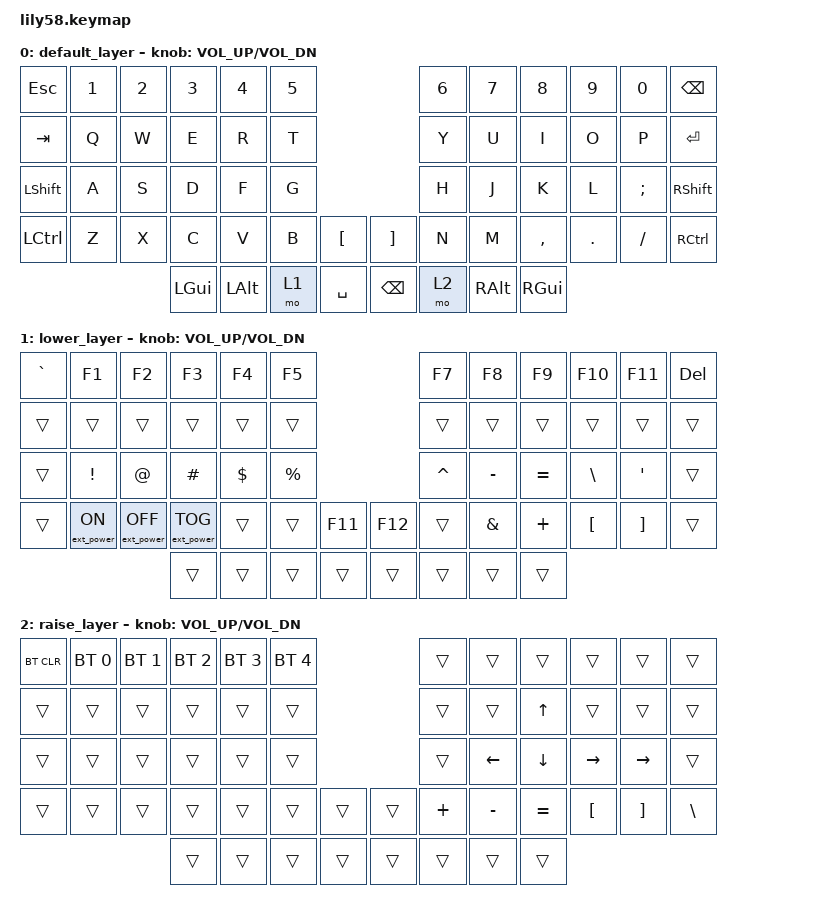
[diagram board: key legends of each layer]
/*
 * Copyright (c) 2020 The ZMK Contributors
 *
 * SPDX-License-Identifier: MIT
 */

#include <behaviors.dtsi>
#include <dt-bindings/zmk/keys.h>
#include <dt-bindings/zmk/bt.h>
#include <dt-bindings/zmk/ext_power.h>

/ {
    keymap {
        compatible = "zmk,keymap";

        default_layer {
// ------------------------------------------------------------------------------------------------------------
// |  ESC  |  1  |  2  |  3   |  4   |  5   |                   |  6   |  7    |  8    |  9   |   0   |   `   |
// |  TAB  |  Q  |  W  |  E   |  R   |  T   |                   |  Y   |  U    |  I    |  O   |   P   |   -   |
// |  CTRL |  A  |  S  |  D   |  F   |  G   |                   |  H   |  J    |  K    |  L   |   ;   |   '   |
// | SHIFT |  Z  |  X  |  C   |  V   |  B   |   "["  |  |  "]"  |  N   |  M    |  ,    |  .   |   /   | SHIFT |
//                     | ALT  | GUI  | LOWER|  SPACE |  | ENTER | RAISE| BSPC  | GUI   |
            bindings = <
&kp ESC   &kp N1 &kp N2 &kp N3   &kp N4   &kp N5                     &kp N6 &kp N7   &kp N8    &kp N9  &kp N0   &kp BSPC
&kp TAB   &kp Q  &kp W  &kp E    &kp R    &kp T                      &kp Y  &kp U    &kp I     &kp O   &kp P    &kp RET
&kp LSHFT &kp A  &kp S  &kp D    &kp F    &kp G                      &kp H  &kp J    &kp K     &kp L   &kp SEMI &kp RSHFT
&kp LCTRL &kp Z  &kp X  &kp C    &kp V    &kp B  &kp LBKT   &kp RBKT &kp N  &kp M    &kp COMMA &kp DOT &kp FSLH &kp RCTRL
                        &kp LGUI &kp LALT &mo 1  &kp SPACE  &kp BSPC &mo 2  &kp RALT &kp RGUI
            >;

            sensor-bindings = <&inc_dec_kp C_VOL_UP C_VOL_DN>;
        };

        lower_layer {
// ------------------------------------------------------------------------------------------------------------
// | BTCLR | BT1 | BT2 |  BT3 |  BT4 |  BT5 |                   |      |       |       |      |       |       |
// |  F1   |  F2 |  F3 |  F4  |  F5  |  F6  |                   |  F7  |  F8   |  F9   |  F10 |  F11  |  F12  |
// |   `   |  !  |  @  |  #   |  $   |  %   |                   |  ^   |  &    |  *    |  (   |   )   |   ~   |
// |       |     |     |      |      |      |        |  |       |      |  _    |  +    |  {   |   }   |  "|"  |
//                     |      |      |      |        |  |       |      |       |       |
            bindings = <
&kp GRAVE   &kp F1		&kp F2		    &kp F3		&kp F4		&kp F5			     &kp F7	&kp F8    &kp F9    &kp F10   &kp F11    &kp DEL
&trans	    &trans   		&trans  	    &trans	    	&trans	    	&trans                       &trans	&trans    &trans    &trans    &trans	 &trans
&trans      &kp EXCL 		&kp AT		    &kp HASH	    	&kp DOLLAR	&kp PRCNT                    &kp CARET	&kp MINUS &kp EQUAL &kp BSLH  &kp SQT    &trans
&trans      &ext_power EP_ON 	&ext_power EP_OFF   &ext_power EP_TOG	&trans 		&trans	&kp F11	  &kp F12    &trans    	&kp AMPS  &kp PLUS  &kp LBKT  &kp RBKT   &trans
                                              	    &trans            	&trans       	&trans	&trans    &trans     &trans   	&trans    &trans
            >;

            sensor-bindings = <&inc_dec_kp C_VOL_UP C_VOL_DN>;
        };

        raise_layer {
// ------------------------------------------------------------------------------------------------------------
// |       |     |     |      |      |      |                   |      |       |       |      |       |       |
// |   `   |  1  |  2  |  3   |  4   |  5   |                   |  6   |   7   |   8   |  9   |   0   |       |
// |   F1  |  F2 |  F3 |  F4  |  F5  |  F6  |                   |      |   <-  |   v   |  ^   |  ->   |       |
// |   F7  |  F8 |  F9 |  F10 |  F11 |  F12 |        |  |       |  +   |   -   |   =   |  [   |   ]   |   \   |
//                     |      |      |      |        |  |       |      |       |       |
            bindings = <
&bt BT_CLR &bt BT_SEL 0	&bt BT_SEL 1 &bt BT_SEL 2      &bt BT_SEL 3 &bt BT_SEL 4                &trans		&trans    &trans    &trans    &trans    &trans
&trans     &trans     	&trans       &trans  	       &trans  	    &trans                      &trans		&trans    &kp UP    &trans    &trans    &trans
&trans	   &trans 	&trans 	     &trans  	       &trans  	    &trans                      &trans		&kp LEFT  &kp DOWN  &kp RIGHT &kp RIGHT &trans
&trans	   &trans 	&trans 	     &trans 	       &trans 	    &trans   &trans   &trans    &kp PLUS	&kp MINUS &kp EQUAL &kp LBKT  &kp RBKT  &kp BSLH
                            	     &trans            &trans  	    &trans   &trans   &trans  	&trans        	&trans	  &trans
            >;

            sensor-bindings = <&inc_dec_kp C_VOL_UP C_VOL_DN>;
        };
    };
};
